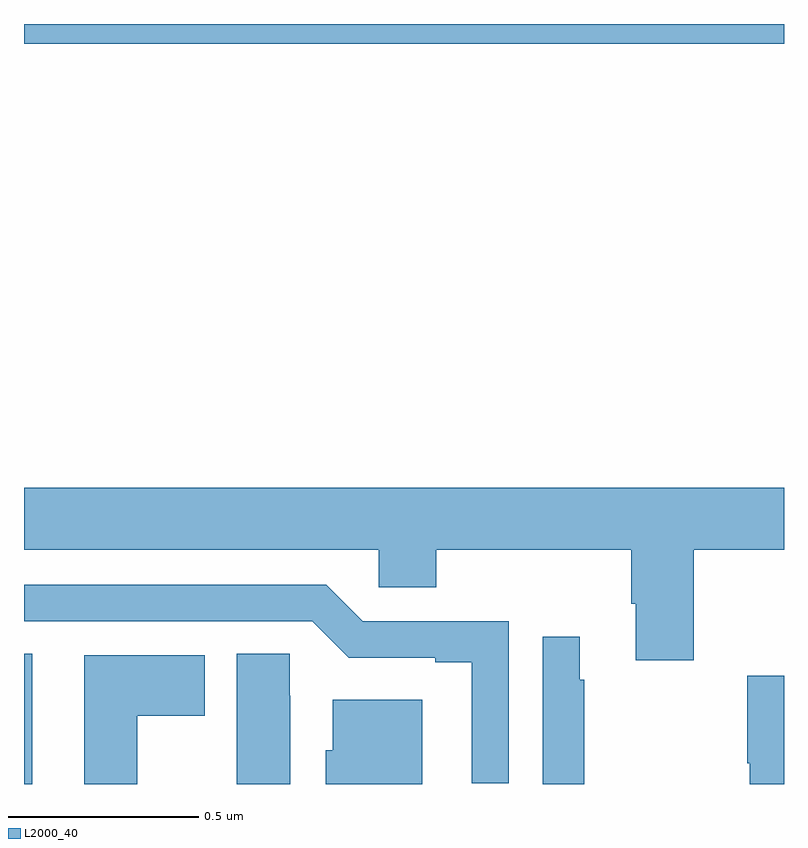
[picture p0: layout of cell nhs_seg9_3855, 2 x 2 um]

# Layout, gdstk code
import gdstk
lib = gdstk.Library(unit=1e-6, precision=1e-09)
def R(c, l, rs):  # rectangles x0, y0, x1, y1
    for r in rs: c.add(gdstk.rectangle(r[:2], r[2:], *l))
def P(c, l, *ps):  # polygons
    for p in ps: c.add(gdstk.Polygon(p, *l))
L2000_40 = (2000, 40)

nhs_seg9_3855 = lib.new_cell('nhs_seg9_3855')
R(nhs_seg9_3855, L2000_40, [(159,1166.5,159.022,1166.843), (159,1168.448,161,1168.5)])
P(nhs_seg9_3855, L2000_40, [(160.763,1167.116),(161,1167.116),(161,1167.28),(159,1167.28),(159,1167.116),(159.933,1167.116),(159.933,1167.018),(160.085,1167.018),(160.085,1167.116),(160.598,1167.116),(160.598,1166.974),(160.61,1166.974),(160.61,1166.826),(160.763,1166.826)],
  [(160.275,1166.928),(159.891,1166.928),(159.795,1167.024),(159,1167.024),(159,1166.928),(159.759,1166.928),(159.855,1166.832),(160.082,1166.832),(160.082,1166.82),(160.178,1166.82),(160.178,1166.502),(160.275,1166.502)],
  [(160.474,1166.774),(160.462,1166.774),(160.462,1166.887),(160.365,1166.887),(160.365,1166.5),(160.474,1166.5)],
  [(159.7,1166.732),(159.699,1166.732),(159.699,1166.843),(159.56,1166.843),(159.56,1166.5),(159.7,1166.5)],
  [(159.298,1166.68),(159.475,1166.68),(159.475,1166.839),(159.158,1166.839),(159.158,1166.5),(159.298,1166.5)],
  [(161,1166.785),(160.903,1166.785),(160.903,1166.554),(160.91,1166.554),(160.91,1166.5),(161,1166.5)],
  [(160.048,1166.722),(159.812,1166.722),(159.812,1166.589),(159.794,1166.589),(159.794,1166.5),(160.048,1166.5)])

lib.write_gds('nhs_seg9_3855.gds')
